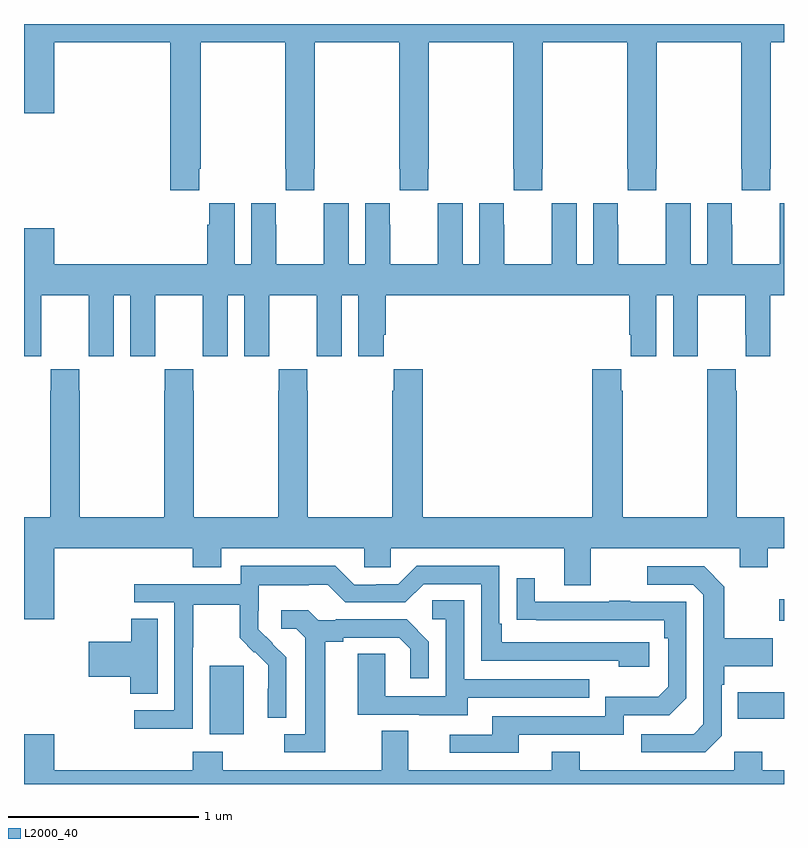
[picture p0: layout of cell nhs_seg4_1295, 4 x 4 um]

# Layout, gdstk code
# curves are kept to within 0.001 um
import gdstk
lib = gdstk.Library(unit=1e-6, precision=1e-09)
def R(c, l, rs):  # rectangles x0, y0, x1, y1
    for r in rs: c.add(gdstk.rectangle(r[:2], r[2:], *l))
def P(c, l, *ps):  # polygons
    for p in ps: c.add(gdstk.Polygon(p, *l))
L2000_40 = (2000, 40)

nhs_seg4_1295 = lib.new_cell('nhs_seg4_1295')
R(nhs_seg4_1295, L2000_40, [(177.977,809.162,178.156,809.523), (180.757,809.243,181,809.383), (180.975,809.759,181,809.872)])
P(nhs_seg4_1295, L2000_40, [(177.923,812.137),(177.93,812.137),(177.93,812.804),(178.375,812.804),(178.375,812.137),(178.377,812.137),(178.377,812.025),(178.527,812.025),(178.527,812.137),(178.53,812.137),(178.53,812.804),(178.975,812.804),(178.975,812.137),(178.977,812.137),(178.977,812.025),(179.127,812.025),(179.127,812.137),(179.13,812.137),(179.13,812.804),(179.575,812.804),(179.575,812.137),(179.577,812.137),(179.577,812.025),(179.727,812.025),(179.727,812.137),(179.73,812.137),(179.73,812.804),(180.175,812.804),(180.175,812.137),(180.177,812.137),(180.177,812.025),(180.327,812.025),(180.327,812.137),(180.33,812.137),(180.33,812.804),(180.775,812.804),(180.775,812.137),(180.777,812.137),(180.777,812.025),(180.927,812.025),(180.927,812.137),(180.93,812.137),(180.93,812.804),(181,812.804),(181,812.9),(177,812.9),(177,812.43),(177.16,812.43),(177.16,812.804),(177.77,812.804),(177.77,812.025),(177.923,812.025)],
  [(178.196,811.636),(178.108,811.636),(178.108,811.957),(177.974,811.957),(177.974,811.844),(177.965,811.844),(177.965,811.636),(177.16,811.636),(177.16,811.825),(177,811.825),(177,811.152),(177.09,811.152),(177.09,811.264),(177.091,811.264),(177.091,811.472),(177.341,811.472),(177.341,811.264),(177.342,811.264),(177.342,811.152),(177.472,811.152),(177.472,811.472),(177.56,811.472),(177.56,811.152),(177.69,811.152),(177.69,811.264),(177.691,811.264),(177.691,811.472),(177.941,811.472),(177.941,811.264),(177.942,811.264),(177.942,811.152),(178.072,811.152),(178.072,811.472),(178.16,811.472),(178.16,811.152),(178.29,811.152),(178.29,811.264),(178.291,811.264),(178.291,811.472),(178.541,811.472),(178.541,811.264),(178.542,811.264),(178.542,811.152),(178.672,811.152),(178.672,811.472),(178.76,811.472),(178.76,811.152),(178.894,811.152),(178.894,811.264),(178.904,811.264),(178.904,811.472),(180.185,811.472),(180.185,811.264),(180.194,811.264),(180.194,811.152),(180.328,811.152),(180.328,811.472),(180.416,811.472),(180.416,811.152),(180.546,811.152),(180.546,811.264),(180.547,811.264),(180.547,811.472),(180.797,811.472),(180.797,811.264),(180.798,811.264),(180.798,811.152),(180.928,811.152),(180.928,811.472),(181,811.472),(181,811.957),(180.978,811.957),(180.978,811.844),(180.977,811.844),(180.977,811.636),(180.727,811.636),(180.727,811.844),(180.726,811.844),(180.726,811.957),(180.596,811.957),(180.596,811.636),(180.508,811.636),(180.508,811.957),(180.378,811.957),(180.378,811.844),(180.377,811.844),(180.377,811.636),(180.127,811.636),(180.127,811.844),(180.126,811.844),(180.126,811.957),(179.996,811.957),(179.996,811.636),(179.908,811.636),(179.908,811.957),(179.778,811.957),(179.778,811.844),(179.777,811.844),(179.777,811.636),(179.527,811.636),(179.527,811.844),(179.526,811.844),(179.526,811.957),(179.396,811.957),(179.396,811.636),(179.308,811.636),(179.308,811.957),(179.178,811.957),(179.178,811.844),(179.177,811.844),(179.177,811.636),(178.927,811.636),(178.927,811.844),(178.926,811.844),(178.926,811.957),(178.796,811.957),(178.796,811.636),(178.708,811.636),(178.708,811.957),(178.578,811.957),(178.578,811.844),(178.577,811.844),(178.577,811.636),(178.327,811.636),(178.327,811.844),(178.326,811.844),(178.326,811.957),(178.196,811.957)],
  [(177.16,810.14),(177.887,810.14),(177.887,810.041),(178.039,810.041),(178.039,810.14),(178.791,810.14),(178.791,810.042),(178.929,810.042),(178.929,810.14),(179.843,810.14),(179.843,809.946),(179.983,809.946),(179.983,810.14),(180.767,810.14),(180.767,810.041),(180.915,810.041),(180.915,810.14),(181,810.14),(181,810.304),(180.75,810.304),(180.75,810.971),(180.747,810.971),(180.747,811.084),(180.597,811.084),(180.597,810.971),(180.595,810.971),(180.595,810.304),(180.15,810.304),(180.15,810.971),(180.143,810.971),(180.143,811.084),(179.99,811.084),(179.99,810.304),(179.099,810.304),(179.099,811.084),(178.945,811.084),(178.945,810.971),(178.939,810.971),(178.939,810.304),(178.494,810.304),(178.494,810.971),(178.491,810.971),(178.491,811.084),(178.341,811.084),(178.341,810.971),(178.339,810.971),(178.339,810.304),(177.894,810.304),(177.894,810.971),(177.891,810.971),(177.891,811.084),(177.741,811.084),(177.741,810.971),(177.739,810.971),(177.739,810.304),(177.294,810.304),(177.294,810.971),(177.291,810.971),(177.291,811.084),(177.141,811.084),(177.141,810.971),(177.139,810.971),(177.139,810.304),(177,810.304),(177,809.766),(177.16,809.766)],
  [(177.888,809.62),(177.891,809.62),(177.891,809.844),(178.135,809.844),(178.135,809.669),(178.212,809.592),(178.215,809.595),(178.286,809.525),(178.286,809.402),(178.284,809.402),(178.284,809.248),(178.38,809.248),(178.38,809.566),(178.234,809.714),(178.234,809.811),(178.236,809.811),(178.236,809.945),(178.499,809.945),(178.499,809.949),(178.599,809.949),(178.692,809.856),(179.007,809.856),(179.103,809.952),(179.406,809.952),(179.406,809.55),(180.131,809.55),(180.131,809.516),(180.292,809.516),(180.292,809.646),(179.515,809.646),(179.515,809.743),(179.502,809.743),(179.502,810.048),(179.067,810.048),(178.971,809.952),(178.853,809.952),(178.853,809.949),(178.737,809.949),(178.637,810.049),(178.14,810.049),(178.14,809.952),(177.579,809.952),(177.579,809.856),(177.792,809.856),(177.792,809.289),(177.579,809.289),(177.579,809.191),(177.888,809.191)],
  [(180.672,809.154),(180.672,809.423),(180.685,809.423),(180.685,809.519),(180.941,809.519),(180.941,809.667),(180.685,809.667),(180.685,809.939),(180.579,810.045),(180.279,810.045),(180.279,809.949),(180.522,809.949),(180.576,809.895),(180.576,809.214),(180.525,809.163),(180.249,809.163),(180.249,809.067),(180.585,809.067)],
  [(179.605,809.16),(180.156,809.16),(180.156,809.262),(180.396,809.262),(180.486,809.352),(180.486,809.859),(180.191,809.859),(180.191,809.864),(180.079,809.864),(180.079,809.859),(179.689,809.859),(179.689,809.983),(179.593,809.983),(179.593,809.764),(180.37,809.763),(180.37,809.666),(180.39,809.666),(180.39,809.412),(180.337,809.359),(180.06,809.359),(180.06,809.256),(179.465,809.256),(179.465,809.16),(179.241,809.16),(179.241,809.064),(179.605,809.064)],
  [(179.335,809.355),(179.975,809.355),(179.975,809.451),(179.316,809.451),(179.316,809.867),(179.148,809.867),(179.148,809.766),(179.22,809.766),(179.22,809.361),(178.902,809.361),(178.902,809.585),(178.757,809.585),(178.757,809.265),(179.081,809.265),(179.081,809.261),(179.335,809.261)],
  [(178.585,809.648),(178.681,809.648),(178.681,809.67),(178.976,809.67),(179.033,809.613),(179.033,809.457),(179.13,809.457),(179.13,809.65),(179.014,809.766),(178.642,809.766),(178.642,809.763),(178.548,809.763),(178.496,809.815),(178.353,809.815),(178.353,809.718),(178.434,809.718),(178.481,809.671),(178.481,809.163),(178.371,809.163),(178.371,809.067),(178.585,809.067)],
  [(177.703,809.771),(177.565,809.771),(177.565,809.648),(177.342,809.648),(177.342,809.465),(177.56,809.465),(177.56,809.374),(177.703,809.374)],
  [(181,808.972),(180.885,808.972),(180.885,809.071),(180.738,809.071),(180.738,808.972),(179.925,808.972),(179.925,809.071),(179.777,809.071),(179.777,808.972),(179.023,808.972),(179.023,809.18),(178.883,809.18),(178.883,808.972),(178.047,808.972),(178.047,809.071),(177.887,809.071),(177.887,808.972),(177.16,808.972),(177.16,809.161),(177,809.161),(177,808.9),(181,808.9)])

lib.write_gds('nhs_seg4_1295.gds')
